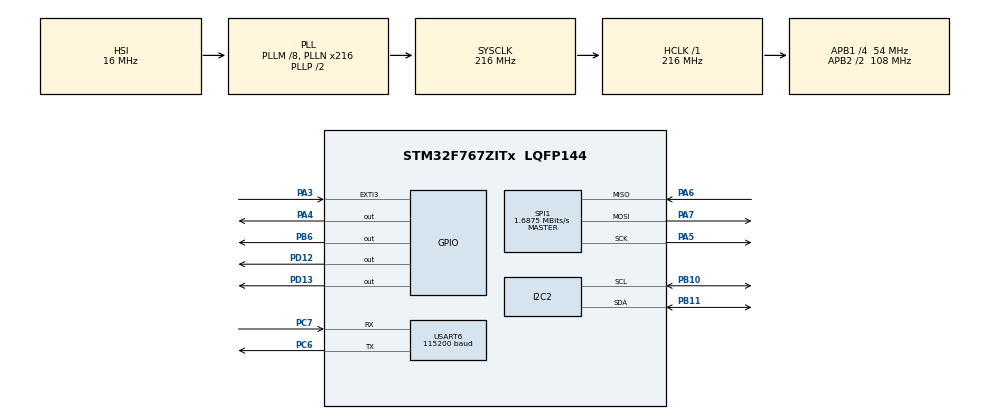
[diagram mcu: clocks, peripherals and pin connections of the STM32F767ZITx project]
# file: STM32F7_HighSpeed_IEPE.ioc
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Dma.Request0=SPI1_RX
Dma.Request1=SPI1_TX
Dma.Request2=USART6_TX
Dma.SPI1_RX.0.Direction=DMA_PERIPH_TO_MEMORY
Dma.SPI1_RX.0.FIFOMode=DMA_FIFOMODE_DISABLE
Dma.SPI1_RX.0.Instance=DMA2_Stream0
Dma.SPI1_RX.0.MemDataAlignment=DMA_MDATAALIGN_BYTE
Dma.SPI1_RX.0.MemInc=DMA_MINC_ENABLE
Dma.SPI1_RX.0.Mode=DMA_NORMAL
Dma.SPI1_RX.0.PeriphDataAlignment=DMA_PDATAALIGN_BYTE
Dma.SPI1_RX.0.PeriphInc=DMA_PINC_DISABLE
Dma.SPI1_RX.0.Priority=DMA_PRIORITY_LOW
Dma.SPI1_TX.1.Direction=DMA_MEMORY_TO_PERIPH
Dma.SPI1_TX.1.FIFOMode=DMA_FIFOMODE_DISABLE
Dma.SPI1_TX.1.Instance=DMA2_Stream3
Dma.SPI1_TX.1.MemDataAlignment=DMA_MDATAALIGN_BYTE
Dma.SPI1_TX.1.MemInc=DMA_MINC_ENABLE
Dma.SPI1_TX.1.Mode=DMA_NORMAL
Dma.SPI1_TX.1.PeriphDataAlignment=DMA_PDATAALIGN_BYTE
Dma.SPI1_TX.1.PeriphInc=DMA_PINC_DISABLE
Dma.SPI1_TX.1.Priority=DMA_PRIORITY_LOW
Dma.USART6_TX.2.Direction=DMA_MEMORY_TO_PERIPH
Dma.USART6_TX.2.FIFOMode=DMA_FIFOMODE_DISABLE
Dma.USART6_TX.2.Instance=DMA2_Stream6
Dma.USART6_TX.2.MemDataAlignment=DMA_MDATAALIGN_BYTE
Dma.USART6_TX.2.MemInc=DMA_MINC_ENABLE
Dma.USART6_TX.2.Mode=DMA_NORMAL
Dma.USART6_TX.2.PeriphDataAlignment=DMA_PDATAALIGN_BYTE
Dma.USART6_TX.2.PeriphInc=DMA_PINC_DISABLE
Dma.USART6_TX.2.Priority=DMA_PRIORITY_LOW
FREERTOS.BinarySemaphores01=adcBinarySem,Dynamic,NULL;I2cBinarySem,Dynamic,NULL
FREERTOS.Queues01=adcQueue,16,long,0,Dynamic,NULL,NULL
FREERTOS.Tasks01=ADC_Task,3,200,ADC_Thread,Default,NULL,Dynamic,NULL,NULL;FFT_Task,2,400,FFT_Thread,Default,NULL,Dynamic,NULL,NULL
FREERTOS.configTOTAL_HEAP_SIZE=350000
I2C2.GeneralCallMode=I2C_GENERALCALL_ENABLE
I2C2.OwnAddress=4
I2C2.Timing=0x20404768
IWDG.Prescaler=IWDG_PRESCALER_128
IWDG.Reload=3096
Mcu.Family=STM32F7
Mcu.Name=STM32F767ZITx
Mcu.Package=LQFP144
NVIC.DMA2_Stream0_IRQn=true\:5\:0\:false\:false\:true\:true\:false\:true
NVIC.DMA2_Stream3_IRQn=true\:5\:0\:false\:false\:true\:true\:false\:true
NVIC.DMA2_Stream6_IRQn=true\:5\:0\:false\:false\:true\:true\:false\:true
NVIC.EXTI3_IRQn=true\:5\:0\:false\:false\:true\:true\:true\:true
NVIC.PriorityGroup=NVIC_PRIORITYGROUP_4
NVIC.USART6_IRQn=true\:3\:0\:true\:false\:true\:false\:true\:true
PA3.GPIO_ModeDefaultEXTI=GPIO_MODE_IT_FALLING
PA3.Signal=GPXTI3
PA4.GPIO_PuPd=GPIO_PULLUP
PA4.GPIO_Speed=GPIO_SPEED_FREQ_VERY_HIGH
PA4.Signal=GPIO_Output
PA5.Mode=Full_Duplex_Master
PA5.Signal=SPI1_SCK
PA6.Mode=Full_Duplex_Master
PA6.Signal=SPI1_MISO
PA7.Mode=Full_Duplex_Master
PA7.Signal=SPI1_MOSI
PB10.Mode=I2C
PB10.Signal=I2C2_SCL
PB11.Mode=I2C
PB11.Signal=I2C2_SDA
PB6.Signal=GPIO_Output
PC6.Mode=Asynchronous
PC6.Signal=USART6_TX
PC7.Mode=Asynchronous
PC7.Signal=USART6_RX
PD12.Signal=GPIO_Output
PD13.Signal=GPIO_Output
ProjectManager.HeapSize=0x200
ProjectManager.StackSize=0x400
ProjectManager.TargetToolchain=STM32CubeIDE
RCC.48MHZClocksFreq_Value=24000000
RCC.AHBFreq_Value=216000000
RCC.APB1CLKDivider=RCC_HCLK_DIV4
RCC.APB1Freq_Value=54000000
RCC.APB1TimFreq_Value=108000000
RCC.APB2CLKDivider=RCC_HCLK_DIV2
RCC.APB2Freq_Value=108000000
RCC.APB2TimFreq_Value=216000000
RCC.CortexFreq_Value=216000000
RCC.HCLKFreq_Value=216000000
RCC.HSE_VALUE=16000000
RCC.HSI_VALUE=16000000
RCC.LSE_VALUE=32768
RCC.PLLM=8
RCC.PLLMUL=RCC_PLL_MUL9
RCC.PLLN=216
RCC.PRESCALERUSB=RCC_USBCLKSOURCE_PLL_DIV1_5
RCC.SYSCLKFreq_VALUE=216000000
RCC.SYSCLKSource=RCC_SYSCLKSOURCE_PLLCLK
RCC.SYSCLKSourceVirtual=RCC_SYSCLKSOURCE_PLLCLK
RCC.USBFreq_Value=216000000
RCC.VCOOutputFreq_Value=432000000
SPI1.BaudRatePrescaler=SPI_BAUDRATEPRESCALER_64
SPI1.CLKPhase=SPI_PHASE_2EDGE
SPI1.CalculateBaudRate=1.6875 MBits/s
SPI1.DataSize=SPI_DATASIZE_8BIT
SPI1.Direction=SPI_DIRECTION_2LINES
SPI1.Mode=SPI_MODE_MASTER
SPI1.VirtualType=VM_MASTER
USART6.BaudRate=115200
USART6.VirtualMode-Asynchronous=VM_ASYNC
VP_FREERTOS_VS_CMSIS_V1.Mode=CMSIS_V1
VP_IWDG_VS_IWDG.Mode=IWDG_Activate
board=NUCLEO-F767ZI

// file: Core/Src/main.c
/* USER CODE BEGIN Header */
/**
  ******************************************************************************
  ******************************************************************************
  * @file           : main.c
  * @brief          : Main program body
  * @Author 		: George
  ******************************************************************************
  * @attention
  *
  * <h2><center>&copy; Copyright (c) 2020 STMicroelectronics.
  * All rights reserved.</center></h2>
  *
  * This software component is licensed by ST under BSD 3-Clause license,
  * the "Licens.0e"; You may not use this file except in compliance with the
  * License. You may obtain a copy of the License at:
  *                        opensource.org/licenses/BSD-3-Clause
  *
  ******************************************************************************
  */
/* USER CODE END Header */
#include "main.h"
#include "cmsis_os.h"

/* USER CODE BEGIN Includes */
#include "Delay.h"
#include "Calculate_statistic.h"
#include "arm_const_structs.h"
#include "arm_math.h"
#include "ADS1256.h"
#include "BLE_USART.h"

/* USER CODE END Includes */

/* USER CODE BEGIN PTD */
#define FFT_LENGTH_SAMPLES 8192
/* USER CODE END PTD */

/* USER CODE BEGIN PD */
//IIC EEPROM
#define ADDR_24LCxx_Write 0xA0
#define ADDR_24LCxx_Read 0xA1
#define BufferSize 0x100

/* USER CODE END PD */

I2C_HandleTypeDef hi2c2;

IWDG_HandleTypeDef hiwdg;

SPI_HandleTypeDef hspi1;
DMA_HandleTypeDef hdma_spi1_rx;
DMA_HandleTypeDef hdma_spi1_tx;

UART_HandleTypeDef huart6;
DMA_HandleTypeDef hdma_usart6_tx;

osThreadId ADC_TaskHandle;
osThreadId FFT_TaskHandle;
osMessageQId adcQueueHandle;
osSemaphoreId adcBinarySemHandle;
osSemaphoreId I2cBinarySemHandle;
/* USER CODE BEGIN PV */
/*
 * I2C private value
 * */
uint8_t aRxBuffer[1];
struct I2cCommunication
{
	uint8_t i2cRecive;
	uint8_t i2cSend;
} I2cC;

/*2021/0203/George
 *TODO: Define STM32 Studio charting value
 *TODO: Parameter:
 *TODO: id is ADS1256 register ID
 *TODO: data is used for STMStudio debug using
 *TODO: read is covert to float data buffer
 * */
uint8_t id=0;
float data;
int32_t read = 0;

/* 2021/0203/George
 * TODO: For FFT_Thread Bluetooth transmit
 * using moving average while variable times is 3
 * Parameter: : averageTimes
 * */
uint8_t averageTimes = 0;

/* 2021/0203/George
 * TODO: Define send to ADC message
 * TODO: ADS1256 command
 * Parameter:
 * TODO: RDATACsend_data is send to ADS1256
 * TODO: Databuffer is retrieve data from ADS1256
 * TODO: RDATACcmdbuffer is send to ADS1256 enable continue mode
 * TODO: SDATACcmduffer is send to ADS1256 disable continue mode
 * */
uint8_t RDATACsend_data[3] = {0xff,0xff,0xff};
uint8_t Databuffer[3] = {0x00,0x00,0x00};
uint8_t RDATACcmdbuffer[1] = {CMD_RDATAC};
uint8_t SDATACcmduffer[1] = {CMD_SDATAC};

/* 2021/0203/George //2021/02/18/George Addpara samplingRate
 * TODO: FFT using
 * Parameter:
 * TODO: samplingRate is ADS1256 sampling rate
 * TODO: fftSize is fft size
 * TODO: ifftFlag is fft forward when ifftFlag is 0, ifftFlag is fft inverse when ifftFlag is 1.
 * TODO: doBitReverse is bitReverseFlag flag that enables (bitReverseFlag=1) or disables (bitReverseFlag=0) bit reversal of output.
 * TODO: FFTMaxValueIndex is fft max value index
 * TODO: FFTmaxValue is calculate fft max value
 * TODO: p* statisticDataSet is point to rawData
 * TODO: maxtestIndex calculate time-domain max index
 * TODO: mintestIndex calculate time-domain min index
 * TODO: dataLength is fft data length
 * */
uint32_t samplingRate = 15000;
uint32_t fftSize = 4096;
uint32_t ifftFlag = 0;
uint32_t doBitReverse = 1;
uint32_t FFTMaxValueIndex = 0;
float32_t FFTmaxValue;
float32_t *statisticDataSet;
uint32_t maxtestIndex = 0;
uint32_t mintestIndex = 0;
uint32_t dataLength = 0;

//2021/0203/George
//TODO: FFT set band
FreqMaxMin * settingValue = 0;

//TODO: IIC EEPROM 2402C
uint8_t WriteBufferEEPROM[BufferSize],ReadBufferEEPROM[BufferSize];
uint8_t WriteIICEEPROM[1];

//TODO: BLE 080i
USART_BLE USARTBLE;
/*
 * TODO:Define Statistic function
 */
extern Sv statistic_value;
/* FreeRTOS private variables;*/
UBaseType_t queueCount;
/* USER CODE END PV */

void SystemClock_Config(void);
static void MX_GPIO_Init(void);
static void MX_DMA_Init(void);
static void MX_SPI1_Init(void);
static void MX_USART6_UART_Init(void);
static void MX_I2C2_Init(void);
static void MX_IWDG_Init(void);
void ADC_Thread(void const * argument);
void FFT_Thread(void const * argument);

/* USER CODE BEGIN PFP */

//IIC EEPROM function
void readIICEEPROM_2402C(void);
void writeIICEEPROM_2402C(uint8_t *data);

/* USER CODE END PFP */

/* USER CODE BEGIN 0 */

/*=============================================================================================================
 * TODO: IIC Function
 *
 *
 * */
void readIICEEPROM_2402C(void)
{
	  HAL_I2C_Mem_Read(&hi2c2, ADDR_24LCxx_Read, 0, I2C_MEMADD_SIZE_16BIT,ReadBufferEEPROM,BufferSize, 1000);
}
void writeIICEEPROM_2402C(uint8_t *data)
{
		if(HAL_I2C_Mem_Write(&hi2c2, ADDR_24LCxx_Write, 0, I2C_MEMADD_SIZE_16BIT, data,1, 0xff) == HAL_OK)
		{
			TM_DelayMicros(5000);
		}
		else
		{
			TM_DelayMicros(5000);
		}
}

//2021/02/01

//TODO: extern float32_t testInput_f32_10khz[TEST_LENGTH_SAMPLES];
float32_t FFTRawData[FFT_LENGTH_SAMPLES/2];
float *dataRecive[4096];
float *xdatatoSend = ADS1256.data_buffer;
float FFTdata[8192];

float speedans = 0;

//2021/0201/George
//TODO: FFT Task Flag
uint8_t stattisComputingStatus = 0;

enum statisticComputingFlag
{
	statisticComputingNORMAL = 0,
	statisticComputingBUSY = 1,
}statisticComputingFlag;

//2021/0201/George
//TODO: InitialParameter
void initialBootloaderParameter()
{
	USARTBLE.RxCount=0;
	HAL_UART_Receive_IT(&huart6, (uint8_t *)aRxBuffer, 1);
	__enable_irq();
}

//2021/0201/George
//TODO : Initialize ADS1256 data buffer size
void initialADS1256DataBuffer()
{

	  dataLength = sizeof(dataRecive)/sizeof(float);
	  ADS1256.data_index = 0;
	  ADS1256.data_length = dataLength;
}

//2021/0202/George
//TODO: Set freq band
void InitialSetFreqStatisticBand()
{
	//2021/0204/George
	//TODO:Total 3 setting frequency broadband parameter
	freqSettingValueList.range1.Max = 700;
	freqSettingValueList.range1.Min = 500;
	freqSettingValueList.range2.Max = 1000;
	freqSettingValueList.range2.Min = 10;
	freqSettingValueList.range3.Max = 5000;
	freqSettingValueList.range3.Min = 1000;
}

//2021/0202/George
//TODO: Initialize delay systick
void InitialDelayFunction()
{
	   delay_init(216);
	   TM_Delay_Init();
}

//2021/0202/George
//TODO: Initialize ADS1256 parameter
void InitialADS1256Register()
{
	//TODO: Reset ADS1256
	   writeCMD(CMD_RESET);
	   delay_ms(10);
	   TM_DelayMicros(1);

	   //TODO: Initialize ADS1256 parameter (Buffer, PGA, Sampling rate)
	   setBuffer();
	   setPGA(PGA_GAIN1);
	   setDataRate(DRATE_15000);

	   //TODO: Read chip id
	   id = readChipID();

	   delay_ms(500);// wait for initialization

	   uint8_t  posChannels [4] = {AIN0, AIN2, AIN4, AIN6};
	   uint8_t  negChannels [4] = {AIN1, AIN3, AIN5, AIN7};

	   //TODO: Set differential analog input channel.
	   setDIFFChannel(posChannels[0], negChannels[0]);
	   delay_us(15);
	   writeCMD(CMD_SYNC);    // SYNC command
	   delay_us(10);
	   writeCMD(CMD_WAKEUP);  // WAKEUP command
	   delay_us(15); // min delay: t11 = 4 * 1 / 7,68 Mhz = 0,52 micro sec

	   //TODO: Set continuous mode.

		waitDRDY();
		CS_0();
		HAL_SPI_Transmit(&hspi1, RDATACcmdbuffer ,1,50);
		delay_ms(25); // min delay: t6 = 50 * 1/7.68 MHz = 6.5 microseconds
		ADS1256.data_startFlag = 1;
		delay_us(1);

}
/* USER CODE END 0 */

int main(void)
{

  /* MCU Configuration--------------------------------------------------------*/

  /* Reset of all peripherals, Initializes the Flash interface and the Systick. */
  HAL_Init();

  /* Configure the system clock */
  SystemClock_Config();

  /* Initialize all configured peripherals */
  MX_GPIO_Init();
  MX_DMA_Init();
  MX_SPI1_Init();
  MX_USART6_UART_Init();
  MX_I2C2_Init();
  MX_IWDG_Init();
  /* USER CODE BEGIN 2 */
  //2021/0319/George/HTi
  //TODO:PB6 for IEPE output
  HAL_GPIO_WritePin(GPIOB, GPIO_PIN_6, GPIO_PIN_SET);

  //2021/0201/George
  //TODO: InitialParameter
  initialBootloaderParameter();
  initialADS1256DataBuffer();

   //2021/0201/George
   //TODO: Initialize Frequency range to collection to feature
   InitialSetFreqStatisticBand();

   //2021/0202/George
   //TODO: Initialize delay systick
   InitialDelayFunction();

   //2021/0202/George
   //TODO: Testing EEProm
   readIICEEPROM_2402C();

   //2021/0202/George
   //TODO: Initialize ADS1256 parameter
   InitialADS1256Register();
  /* USER CODE END 2 */

  /* Create the semaphores(s) */
  /* definition and creation of adcBinarySem */
  osSemaphoreDef(adcBinarySem);
  adcBinarySemHandle = osSemaphoreCreate(osSemaphore(adcBinarySem), 1);

  /* definition and creation of I2cBinarySem */
  osSemaphoreDef(I2cBinarySem);
  I2cBinarySemHandle = osSemaphoreCreate(osSemaphore(I2cBinarySem), 1);

  /* Create the queue(s) */
  /* definition and creation of adcQueue */
  osMessageQDef(adcQueue, 16, long);
  adcQueueHandle = osMessageCreate(osMessageQ(adcQueue), NULL);

  /* Create the thread(s) */
  /* definition and creation of ADC_Task */
  osThreadDef(ADC_Task, ADC_Thread, osPriorityRealtime, 0, 200);
  ADC_TaskHandle = osThreadCreate(osThread(ADC_Task), NULL);

  /* definition and creation of FFT_Task */
  osThreadDef(FFT_Task, FFT_Thread, osPriorityHigh, 0, 400);
  FFT_TaskHandle = osThreadCreate(osThread(FFT_Task), NULL);

  /* Start scheduler */
  osKernelStart();

  /* We should never get here as control is now taken by the scheduler */
  /* Infinite loop */
  while (1)
  {

  }
}

void SystemClock_Config(void)
{
  RCC_OscInitTypeDef RCC_OscInitStruct = {0};
  RCC_ClkInitTypeDef RCC_ClkInitStruct = {0};
  RCC_PeriphCLKInitTypeDef PeriphClkInitStruct = {0};

  /** Configure the main internal regulator output voltage
  */
  __HAL_RCC_PWR_CLK_ENABLE();
  __HAL_PWR_VOLTAGESCALING_CONFIG(PWR_REGULATOR_VOLTAGE_SCALE1);
  /** Initializes the RCC Oscillators according to the specified parameters
  * in the RCC_OscInitTypeDef structure.
  */
  RCC_OscInitStruct.OscillatorType = RCC_OSCILLATORTYPE_HSI|RCC_OSCILLATORTYPE_LSI;
  RCC_OscInitStruct.HSIState = RCC_HSI_ON;
  RCC_OscInitStruct.HSICalibrationValue = RCC_HSICALIBRATION_DEFAULT;
  RCC_OscInitStruct.LSIState = RCC_LSI_ON;
  RCC_OscInitStruct.PLL.PLLState = RCC_PLL_ON;
  RCC_OscInitStruct.PLL.PLLSource = RCC_PLLSOURCE_HSI;
  RCC_OscInitStruct.PLL.PLLM = 8;
  RCC_OscInitStruct.PLL.PLLN = 216;
  RCC_OscInitStruct.PLL.PLLP = RCC_PLLP_DIV2;
  RCC_OscInitStruct.PLL.PLLQ = 2;
  if (HAL_RCC_OscConfig(&RCC_OscInitStruct) != HAL_OK)
  {
    Error_Handler();
  }
  /** Activate the Over-Drive mode
  */
  if (HAL_PWREx_EnableOverDrive() != HAL_OK)
  {
    Error_Handler();
  }
  /** Initializes the CPU, AHB and APB buses clocks
  */
  RCC_ClkInitStruct.ClockType = RCC_CLOCKTYPE_HCLK|RCC_CLOCKTYPE_SYSCLK
                              |RCC_CLOCKTYPE_PCLK1|RCC_CLOCKTYPE_PCLK2;
  RCC_ClkInitStruct.SYSCLKSource = RCC_SYSCLKSOURCE_PLLCLK;
  RCC_ClkInitStruct.AHBCLKDivider = RCC_SYSCLK_DIV1;
  RCC_ClkInitStruct.APB1CLKDivider = RCC_HCLK_DIV4;
  RCC_ClkInitStruct.APB2CLKDivider = RCC_HCLK_DIV2;

  if (HAL_RCC_ClockConfig(&RCC_ClkInitStruct, FLASH_LATENCY_7) != HAL_OK)
  {
    Error_Handler();
  }
  PeriphClkInitStruct.PeriphClockSelection = RCC_PERIPHCLK_USART6|RCC_PERIPHCLK_I2C2;
  PeriphClkInitStruct.Usart6ClockSelection = RCC_USART6CLKSOURCE_PCLK2;
  PeriphClkInitStruct.I2c2ClockSelection = RCC_I2C2CLKSOURCE_PCLK1;
  if (HAL_RCCEx_PeriphCLKConfig(&PeriphClkInitStruct) != HAL_OK)
  {
    Error_Handler();
  }
}

static void MX_I2C2_Init(void)
{

  hi2c2.Instance = I2C2;
  hi2c2.Init.Timing = 0x20404768;
  hi2c2.Init.OwnAddress1 = 8;
  hi2c2.Init.AddressingMode = I2C_ADDRESSINGMODE_7BIT;
  hi2c2.Init.DualAddressMode = I2C_DUALADDRESS_DISABLE;
  hi2c2.Init.OwnAddress2 = 0;
  hi2c2.Init.OwnAddress2Masks = I2C_OA2_NOMASK;
  hi2c2.Init.GeneralCallMode = I2C_GENERALCALL_ENABLE;
  hi2c2.Init.NoStretchMode = I2C_NOSTRETCH_DISABLE;
  if (HAL_I2C_Init(&hi2c2) != HAL_OK)
  {
    Error_Handler();
  }
  /** Configure Analogue filter
  */
  if (HAL_I2CEx_ConfigAnalogFilter(&hi2c2, I2C_ANALOGFILTER_ENABLE) != HAL_OK)
  {
    Error_Handler();
  }
  /** Configure Digital filter
  */
  if (HAL_I2CEx_ConfigDigitalFilter(&hi2c2, 0) != HAL_OK)
  {
    Error_Handler();
  }

}

static void MX_IWDG_Init(void)
{

  hiwdg.Instance = IWDG;
  hiwdg.Init.Prescaler = IWDG_PRESCALER_128;
  hiwdg.Init.Window = 4095;
  hiwdg.Init.Reload = 3096;
  if (HAL_IWDG_Init(&hiwdg) != HAL_OK)
  {
    Error_Handler();
  }

}

static void MX_SPI1_Init(void)
{

  /* SPI1 parameter configuration*/
  hspi1.Instance = SPI1;
  hspi1.Init.Mode = SPI_MODE_MASTER;
  hspi1.Init.Direction = SPI_DIRECTION_2LINES;
  hspi1.Init.DataSize = SPI_DATASIZE_8BIT;
  hspi1.Init.CLKPolarity = SPI_POLARITY_LOW;
  hspi1.Init.CLKPhase = SPI_PHASE_2EDGE;
  hspi1.Init.NSS = SPI_NSS_SOFT;
  hspi1.Init.BaudRatePrescaler = SPI_BAUDRATEPRESCALER_64;
  hspi1.Init.FirstBit = SPI_FIRSTBIT_MSB;
  hspi1.Init.TIMode = SPI_TIMODE_DISABLE;
  hspi1.Init.CRCCalculation = SPI_CRCCALCULATION_DISABLE;
  hspi1.Init.CRCPolynomial = 7;
  hspi1.Init.CRCLength = SPI_CRC_LENGTH_DATASIZE;
  hspi1.Init.NSSPMode = SPI_NSS_PULSE_DISABLE;
  if (HAL_SPI_Init(&hspi1) != HAL_OK)
  {
    Error_Handler();
  }

}

static void MX_USART6_UART_Init(void)
{

  huart6.Instance = USART6;
  huart6.Init.BaudRate = 115200;
  huart6.Init.WordLength = UART_WORDLENGTH_8B;
  huart6.Init.StopBits = UART_STOPBITS_1;
  huart6.Init.Parity = UART_PARITY_NONE;
  huart6.Init.Mode = UART_MODE_TX_RX;
  huart6.Init.HwFlowCtl = UART_HWCONTROL_NONE;
  huart6.Init.OverSampling = UART_OVERSAMPLING_16;
  huart6.Init.OneBitSampling = UART_ONE_BIT_SAMPLE_DISABLE;
  huart6.AdvancedInit.AdvFeatureInit = UART_ADVFEATURE_NO_INIT;
  if (HAL_UART_Init(&huart6) != HAL_OK)
  {
    Error_Handler();
  }

}

static void MX_DMA_Init(void)
{

  /* DMA controller clock enable */
  __HAL_RCC_DMA2_CLK_ENABLE();

  /* DMA interrupt init */
  /* DMA2_Stream0_IRQn interrupt configuration */
  HAL_NVIC_SetPriority(DMA2_Stream0_IRQn, 5, 0);
  HAL_NVIC_EnableIRQ(DMA2_Stream0_IRQn);
  /* DMA2_Stream3_IRQn interrupt configuration */
  HAL_NVIC_SetPriority(DMA2_Stream3_IRQn, 5, 0);
  HAL_NVIC_EnableIRQ(DMA2_Stream3_IRQn);
  /* DMA2_Stream6_IRQn interrupt configuration */
  HAL_NVIC_SetPriority(DMA2_Stream6_IRQn, 5, 0);
  HAL_NVIC_EnableIRQ(DMA2_Stream6_IRQn);

}

static void MX_GPIO_Init(void)
{
  GPIO_InitTypeDef GPIO_InitStruct = {0};

  /* GPIO Ports Clock Enable */
  __HAL_RCC_GPIOA_CLK_ENABLE();
  __HAL_RCC_GPIOB_CLK_ENABLE();
  __HAL_RCC_GPIOD_CLK_ENABLE();
  __HAL_RCC_GPIOC_CLK_ENABLE();

  /*Configure GPIO pin Output Level */
  HAL_GPIO_WritePin(GPIOA, GPIO_PIN_4, GPIO_PIN_RESET);

  /*Configure GPIO pin Output Level */
  HAL_GPIO_WritePin(GPIOD, GPIO_PIN_12|GPIO_PIN_13, GPIO_PIN_RESET);

  /*Configure GPIO pin Output Level */
  HAL_GPIO_WritePin(GPIOB, GPIO_PIN_6, GPIO_PIN_RESET);

  /*Configure GPIO pin : PA3 */
  GPIO_InitStruct.Pin = GPIO_PIN_3;
  GPIO_InitStruct.Mode = GPIO_MODE_IT_FALLING;
  GPIO_InitStruct.Pull = GPIO_NOPULL;
  HAL_GPIO_Init(GPIOA, &GPIO_InitStruct);

  /*Configure GPIO pin : PA4 */
  GPIO_InitStruct.Pin = GPIO_PIN_4;
  GPIO_InitStruct.Mode = GPIO_MODE_OUTPUT_PP;
  GPIO_InitStruct.Pull = GPIO_PULLUP;
  GPIO_InitStruct.Speed = GPIO_SPEED_FREQ_VERY_HIGH;
  HAL_GPIO_Init(GPIOA, &GPIO_InitStruct);

  /*Configure GPIO pins : PD12 PD13 */
  GPIO_InitStruct.Pin = GPIO_PIN_12|GPIO_PIN_13;
  GPIO_InitStruct.Mode = GPIO_MODE_OUTPUT_PP;
  GPIO_InitStruct.Pull = GPIO_NOPULL;
  GPIO_InitStruct.Speed = GPIO_SPEED_FREQ_LOW;
  HAL_GPIO_Init(GPIOD, &GPIO_InitStruct);

  /*Configure GPIO pin : PB6 */
  GPIO_InitStruct.Pin = GPIO_PIN_6;
  GPIO_InitStruct.Mode = GPIO_MODE_OUTPUT_PP;
  GPIO_InitStruct.Pull = GPIO_NOPULL;
  GPIO_InitStruct.Speed = GPIO_SPEED_FREQ_LOW;
  HAL_GPIO_Init(GPIOB, &GPIO_InitStruct);

  /* EXTI interrupt init*/
  HAL_NVIC_SetPriority(EXTI3_IRQn, 5, 0);
  HAL_NVIC_EnableIRQ(EXTI3_IRQn);

}

/* USER CODE BEGIN 4 */
void HAL_GPIO_EXTI_Callback(uint16_t GPIO_Pin)
{

	if(GPIO_Pin == GPIO_PIN_3 && id == 3 && ADS1256.data_startFlag == 1 && I2cC.i2cRecive == 0 && stattisComputingStatus == statisticComputingNORMAL)
	{

		//2021/0201/George code from ADC Task.
		//TODO:SPI handshake from ADS1256 24 bit, 8bit(High), 8bit(Medium), 8bit(Low)
		HAL_SPI_TransmitReceive_DMA(&hspi1,RDATACsend_data,Databuffer,3);

		// construct 24 bit value
		read  = ((int32_t)Databuffer[0] << 16) & 0x00FF0000; //8bit(High)
		read |= ((int32_t)Databuffer[1] << 8); //8bit(Medium)
		read |= Databuffer[2]; //8bit(Low)
		if (read & 0x800000){ //Determine negative value.
			read |= 0xFF000000;
		}

		data = read;
		//2021/0309/George for SMG device
		data = data / 1677721;

		//2021/0811/George for HTi device
		//data = data / (1678043 * 0.496);
		ADS1256.data_buffer[ADS1256.data_index] = data; //plus 2 for FFT using
		ADS1256.data_index++;

		if(ADS1256.data_index == ADS1256.data_length) //divide 2 for FFT real data equal 4096
		{
		/* The xHigherPriorityTaskWoken parameter must be initialized to pdFALSE because it will get set to pdTRUE inside the interrupt-safe API function if a context switch is required. */
			BaseType_t xHigherPriorityTaskWoken;
			xHigherPriorityTaskWoken = pdFALSE;
			xSemaphoreGiveFromISR(adcBinarySemHandle,&xHigherPriorityTaskWoken); //Wakeup High Priority Task

				if(xHigherPriorityTaskWoken == pdTRUE)
				{
					portEND_SWITCHING_ISR( xHigherPriorityTaskWoken ); //Switch high priority task from ISR
				}

			ADS1256.data_index = 0;
			HAL_GPIO_TogglePin(GPIOD, GPIO_PIN_13);
		}

	}
}

void HAL_UART_RxCpltCallback(UART_HandleTypeDef *huart)
{
  /* Prevent unused argument(s) compilation warning */
  UNUSED(huart);

  /* NOTE : This function should not be modified, when the callback is needed,
            the HAL_UART_RxCpltCallback can be implemented in the user file
   */
  USARTBLE.iapbuffer[USARTBLE.RxCount++]= aRxBuffer[0];
  if(aRxBuffer[0]==0x0A)//when receive 0x0a("\n" Line feeds string),it is a effective command, Send a receive flag.
  	{
	  USARTBLE.RxCount=0;
	  _Bool command = checkBLECommandFromBLEGateway(USARTBLE.iapbuffer ,"request",7);
	  if(command)
	  {
		  USARTBLE.IAPflag =1;
		  USARTBLE.sendflag = 0;
		  BLE_USART(huart, &statistic_value);
	  }
	  else
	  {
		  memset( USARTBLE.iapbuffer, 0, strlen(USARTBLE.iapbuffer) );
	  }

  	}
  	if(USARTBLE.RxCount>=15)//no  "\n" Line feeds string full over to 24 byte, clear data
  	{
  		USARTBLE.RxCount=0;
  		memset( USARTBLE.iapbuffer, 0, strlen(USARTBLE.iapbuffer) ); //clear Receive data
  	}

  while(HAL_UART_Receive_IT(huart, (uint8_t *)aRxBuffer, 1)==HAL_OK);
}

/* USER CODE END 4 */

void ADC_Thread(void const * argument)
{
  /* USER CODE BEGIN 5 */

  const TickType_t xMaxExpectedBlockTime = pdMS_TO_TICKS( 500 );
  /* Infinite loop */
  for(;;)
  {
		 if( xSemaphoreTake( adcBinarySemHandle, xMaxExpectedBlockTime ) == pdPASS && I2cC.i2cRecive == 0){

			/*TODO: send data buffer to FFT data buffer*/
			BaseType_t xStatus;
			xStatus = xQueueSendToBack(adcQueueHandle, &xdatatoSend , 0);
			queueCount = uxQueueMessagesWaiting(adcQueueHandle);

			//TODO: wakeup FFT Task
			if(xStatus == pdPASS)
			{
				vTaskResume(FFT_TaskHandle);
			};
		}
  }
  /* USER CODE END 5 */
}

void FFT_Thread(void const * argument)
{
  /* USER CODE BEGIN FFT_Thread */
  /* Infinite loop */
  for(;;)
  {
	  BaseType_t xStatus;
	 	  queueCount = uxQueueMessagesWaiting(adcQueueHandle);
	 	  if(queueCount!=0){
	 			  xStatus = xQueueReceive(adcQueueHandle, &dataRecive, 100);
	 			  queueCount = uxQueueMessagesWaiting(adcQueueHandle);

	 			HAL_IWDG_Refresh(&hiwdg);

	 			float32_t * rawdataBuffer;
	 			rawdataBuffer = pvPortMalloc(4096 * sizeof(float32_t));

	 			//TODO : disable collect data flag
	 			stattisComputingStatus = statisticComputingBUSY;

	 			for(uint32_t i = 0; i<dataLength; i++)
	 			{
	 				//recivedata5 = *(dataRecive[0]+i);
	 				rawdataBuffer[i]=*(dataRecive[0]+i);
	 				FFTdata[i*2] = *(dataRecive[0]+i);
	 				FFTdata[i*2+1] = 0; // data format like
	 			}

	 			if(xStatus == pdPASS)
	 			{

	 				/*TODO: Process the data through the CFFT/CIFFT module */
	 				arm_cfft_f32(&arm_cfft_sR_f32_len4096, FFTdata, ifftFlag, doBitReverse);

	 				/*TODO: Process the data through the Complex Magnitude Module for
	 				calculating the magnitude at each bin */
	 				arm_cmplx_mag_f32(FFTdata, FFTRawData, fftSize);

	 				/*TODO: Calculates maxValue and returns corresponding BIN value */
	 				arm_max_f32(FFTRawData, 2048, &FFTmaxValue, &FFTMaxValueIndex);

	 			     /*
	 				 * TODO: the FFTRawData in python  ==> FFTRawData = yf = abs(fft(signal = testInput_f32_10khz))
	 				 * so we can make a new array like yf2 = 2/N * np.abs(yf[0:N//2]); in python
	 				 * It kindly would be
	 				 *  FFTRawData[] = 2/N * FFTRawData[0:N/2]
	 				 *
	 				 * */

	 				//2021/0218/George
	 				//TODO: Calculate displacement the max value condition is small than 20Hz
	 				FFTMaxValueIndex = ( FFTMaxValueIndex == 0 ) ? FFTMaxValueIndex+1 : FFTMaxValueIndex;

	 				//2021/0222/George
	 				//TODO: frequency equal samplingRate / datalength
	 				float frequencyResolution = (float)samplingRate/(float)fftSize;
	 				float integral = 2 * 3.1415926 * FFTMaxValueIndex * frequencyResolution;

	 				//TODO: max acceleration value (peak) is frequency domain *2/datalength
	 				float AccelerationFFTmaxValue = FFTmaxValue * 2 / dataLength;

	 				//TODO: turn acceleration to velocity (peak), should acceleration * g / (2 * pi * f) unit is mm/s
	 				float VelocityFFTmaxValue = AccelerationFFTmaxValue * 9807 /(2 * 3.1415926 * FFTMaxValueIndex * frequencyResolution);

	 				//TODO: turn velocity to displacement (peak), should / (2 * pi *f) unit mm
	 				float DisplacementFFTmaxValue = VelocityFFTmaxValue /(2 * 3.1415926 * FFTMaxValueIndex * frequencyResolution);

	 				//TODO: turn displacement peak to (peak to peak)
	 				float DisplacementP2pFFTmaxValue = DisplacementFFTmaxValue * 2;
	 				//FFTmaxValue = FFTmaxValue*2 / dataLength;

	 				/*TODO: Remove DC component*/
	 				FFTRawData[1] = 0;
	 				FFTRawData[2] = 0;
	 				FFTRawData[3] = 0;
	 				FFTRawData[4] = 0;
	 				FFTRawData[5] = 0;
	 				FFTRawData[6] = 0;
	 				FFTRawData[7] = 0;
	 				FFTRawData[8] = 0;
	 				//FFT symmetry data 2021/0203/George
	 				//TODO:introduce FFT symmetry principle
	 				/*     |                                                                   |
	 				 *     |                  |                             |                  |
	 				 *     |        |         |                             |         |        |
	 				 *  FFT[10] FFT[1000] FFT[1500] FFT[2047] FFT[2048] FFT[2596] FFT[3096] FFT[4086]
	 				 * */
	 				FFTRawData[4088] = 0;
	 				FFTRawData[4089] = 0;
	 				FFTRawData[4090] = 0;
	 				FFTRawData[4091] = 0;
	 				FFTRawData[4092] = 0;
	 				FFTRawData[4093] = 0;
	 				FFTRawData[4094] = 0;
	 				FFTRawData[4095] = 0;

					//2021/0319/George
	 				/*TODO: Calculate time-domain math function*/
	 				arm_max_f32(rawdataBuffer, dataLength, &statistic_value.Statistic_max, &maxtestIndex);
	 				arm_min_f32(rawdataBuffer, dataLength, &statistic_value.Statistic_min, &mintestIndex);
	 				arm_var_f32(rawdataBuffer, dataLength, &statistic_value.Statistic_var);
	 				arm_rms_f32(rawdataBuffer, dataLength, &statistic_value.Statistic_rms);
	 				arm_mean_f32(rawdataBuffer, dataLength, &statistic_value.Statistic_mean);
	 				arm_std_f32(rawdataBuffer, dataLength, &statistic_value.Statistic_std);
	 				statistic_value.Statistic_crestFactor = statistic_value.Statistic_max/statistic_value.Statistic_rms;
	 				statistic_value.Statistic_p2p = statistic_value.Statistic_max - statistic_value.Statistic_min;

	 				//2021/03/22/George
	 				//TODO: calculate Statistic_Displacementp2p using time-domain p2p
	 				//formula : speedp2p = p2p / (2*pi*f), displacement = displacementp2p = speedp2p / (2*pi*f)
	 				statistic_value.Statistic_Displacementp2p = statistic_value.Statistic_p2p*9807 / (integral * integral);
	 				//2021/02/01/George start compute
	 				/*TODO: Calculate skewness and kurtosis will cause delay*/
	 				statistic_value.Statistic_kurtosis = Calculate_kurtosis(rawdataBuffer, dataLength);
	 				statistic_value.Statistic_skewness = Calculate_skewness(rawdataBuffer, dataLength);

	 				//2021/0319/George
	 				//TODO:free rawdataBuffer memory
	 				vPortFree(rawdataBuffer);

					//2021/0319/George
	 				/*TODO: Calculate frequency-domain math function*/

	 				/* focus broad band functionality */
					for(int i =0; i<sizeof(FreqSettingValueList)/sizeof(FreqMaxMin); i++)
					{
						settingValue = (&freqSettingValueList.range1+i);
						Calculate_FreqBandRMS(FFTRawData, settingValue, i);
					}
					/* focus broad band functionality */

					//2021/0319/George
	 				/*TODO: Calculate acceleration, velocity, displacement RMS*/
	 				Calculate_FreqOverAll(FFTRawData, dataLength);

	 				/*TODO: to calculate 3 times moving average*/
	 				averageTimes++;

	 				//2021/0203/George
	 				//TODO:new parameter p2p
	 				if(averageTimes == 1)
	 				{
	 					statistic_value.Statistic_max_Temp = statistic_value.Statistic_max;
	 					statistic_value.Statistic_min_Temp = statistic_value.Statistic_min;
	 					statistic_value.Statistic_p2p_Temp = statistic_value.Statistic_p2p;
	 					statistic_value.Statistic_var_Temp = statistic_value.Statistic_var;
	 					statistic_value.Statistic_rms_Temp = statistic_value.Statistic_rms;
	 					statistic_value.Statistic_mean_Temp = statistic_value.Statistic_mean;
	 					statistic_value.Statistic_std_Temp = statistic_value.Statistic_std;
	 					statistic_value.Statistic_FreqOvall_Temp = statistic_value.Statistic_FreqOvall;
	 					statistic_value.Statistic_crestFactor_Temp = statistic_value.Statistic_crestFactor;
	 					statistic_value.Statistic_SpeedOvall_Temp = statistic_value.Statistic_SpeedOvall;
	 					statistic_value.Statistic_kurtosis_Temp = statistic_value.Statistic_kurtosis;
	 					statistic_value.Statistic_skewness_Temp = statistic_value.Statistic_skewness;
	 				}
	 				if(averageTimes == 2)
	 				{
	 					statistic_value.Statistic_max_Temp += statistic_value.Statistic_max;
	 					statistic_value.Statistic_min_Temp += statistic_value.Statistic_min;
	 					statistic_value.Statistic_p2p_Temp += statistic_value.Statistic_p2p;
	 					statistic_value.Statistic_var_Temp += statistic_value.Statistic_var;
	 					statistic_value.Statistic_rms_Temp += statistic_value.Statistic_rms;
	 					statistic_value.Statistic_mean_Temp += statistic_value.Statistic_mean;
	 					statistic_value.Statistic_std_Temp += statistic_value.Statistic_std;
	 					statistic_value.Statistic_FreqOvall_Temp += statistic_value.Statistic_FreqOvall;
	 					statistic_value.Statistic_crestFactor_Temp += statistic_value.Statistic_crestFactor;
	 					statistic_value.Statistic_SpeedOvall_Temp += statistic_value.Statistic_SpeedOvall;
	 					statistic_value.Statistic_kurtosis_Temp += statistic_value.Statistic_kurtosis;
	 					statistic_value.Statistic_skewness_Temp += statistic_value.Statistic_skewness;
	 				}
	 				if(averageTimes == 3)
	 				{
	 					statistic_value.Statistic_max = (statistic_value.Statistic_max_Temp +
	 							statistic_value.Statistic_max) / 3;
	 					statistic_value.Statistic_min = (statistic_value.Statistic_min_Temp +
	 							statistic_value.Statistic_min) / 3;
	 					statistic_value.Statistic_p2p = (statistic_value.Statistic_p2p_Temp +
								statistic_value.Statistic_p2p) / 3;
	 					statistic_value.Statistic_var = (statistic_value.Statistic_var_Temp +
	 							statistic_value.Statistic_var) / 3;
	 					statistic_value.Statistic_rms = (statistic_value.Statistic_rms_Temp +
	 							statistic_value.Statistic_rms) / 3;
	 					statistic_value.Statistic_mean = (statistic_value.Statistic_mean_Temp +
	 							statistic_value.Statistic_mean) / 3;
	 					statistic_value.Statistic_std = (statistic_value.Statistic_std_Temp +
	 							statistic_value.Statistic_std) / 3;
	 					statistic_value.Statistic_FreqOvall = (statistic_value.Statistic_FreqOvall_Temp +
	 							statistic_value.Statistic_FreqOvall) / 3;
	 					statistic_value.Statistic_crestFactor = (statistic_value.Statistic_crestFactor_Temp +
	 							statistic_value.Statistic_crestFactor) / 3;
	 					statistic_value.Statistic_SpeedOvall = (statistic_value.Statistic_SpeedOvall_Temp +
	 							statistic_value.Statistic_SpeedOvall) / 3;
	 					statistic_value.Statistic_kurtosis = (statistic_value.Statistic_kurtosis_Temp +
	 							statistic_value.Statistic_kurtosis) / 3;
	 					statistic_value.Statistic_skewness = (statistic_value.Statistic_skewness_Temp +
	 							statistic_value.Statistic_skewness) / 3;

	 					USARTBLE.sendflag = 1;
	 					averageTimes = 0;

	 					/*TODO: BLE send data*/
	 					BLE_USART(&huart6, &statistic_value);

	 					//2021/0201/George
	 					//TODO : Initial statistic value to zero
	 					//Initial_AllStatisticValue();

	 				}

	 				HAL_GPIO_TogglePin(GPIOD, GPIO_PIN_12);

	 				//TODO : enable collect data flag
	 				stattisComputingStatus = statisticComputingNORMAL;
	 			}

	 			/*If there is no data in queue, start ads1256 conversion*/

	 	/*
	 			if(testIndex !=  refIndex)
	 			{
	 			  status = ARM_MATH_TEST_FAILURE;
	 			}
	 */
	 	  }

	 	  else{
	 		 vTaskSuspend(NULL);

	 	  }
  }
  /* USER CODE END FFT_Thread */
}

void Error_Handler(void)
{
}

/************************ (C) COPYRIGHT STMicroelectronics *****END OF FILE****/
